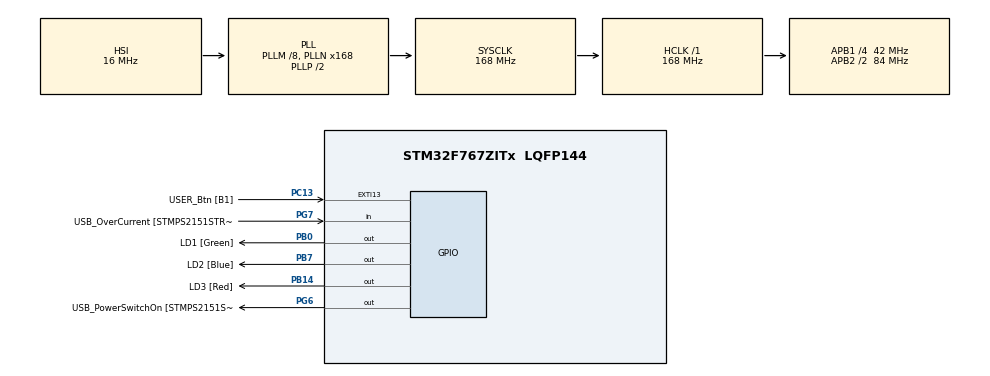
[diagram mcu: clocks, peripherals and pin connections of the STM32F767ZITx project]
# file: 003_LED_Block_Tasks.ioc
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Mcu.Family=STM32F7
Mcu.Name=STM32F767ZITx
Mcu.Package=LQFP144
NVIC.PriorityGroup=NVIC_PRIORITYGROUP_4
PA1.GPIO_Label=RMII_REF_CLK [LAN8742A-CZ-TR_REFCLK0]
PA1.Signal=ETH_REF_CLK
PA10.GPIO_Label=USB_ID
PA10.Signal=USB_OTG_FS_ID
PA11.GPIO_Label=USB_DM
PA11.Signal=USB_OTG_FS_DM
PA12.GPIO_Label=USB_DP
PA12.Signal=USB_OTG_FS_DP
PA13.GPIO_Label=TMS
PA13.Signal=SYS_JTMS-SWDIO
PA14.GPIO_Label=TCK
PA14.Signal=SYS_JTCK-SWCLK
PA2.GPIO_Label=RMII_MDIO [LAN8742A-CZ-TR_MDIO]
PA2.Signal=ETH_MDIO
PA7.GPIO_Label=RMII_CRS_DV [LAN8742A-CZ-TR_CRS_DV]
PA7.Signal=ETH_CRS_DV
PA8.GPIO_Label=USB_SOF [TP1]
PA8.Signal=USB_OTG_FS_SOF
PA9.GPIO_Label=USB_VBUS
PA9.Signal=USB_OTG_FS_VBUS
PB0.GPIO_Label=LD1 [Green]
PB0.Signal=GPIO_Output
PB13.GPIO_Label=RMII_TXD1 [LAN8742A-CZ-TR_TXD1]
PB13.Signal=ETH_TXD1
PB14.GPIO_Label=LD3 [Red]
PB14.Signal=GPIO_Output
PB3.GPIO_Label=SW0
PB3.Signal=SYS_JTDO-SWO
PB7.GPIO_Label=LD2 [Blue]
PB7.Signal=GPIO_Output
PC1.GPIO_Label=RMII_MDC [LAN8742A-CZ-TR_MDC]
PC1.Signal=ETH_MDC
PC13.GPIO_Label=USER_Btn [B1]
PC13.Signal=GPXTI13
PC14/OSC32_IN.Signal=RCC_OSC32_IN
PC15/OSC32_OUT.Signal=RCC_OSC32_OUT
PC4.GPIO_Label=RMII_RXD0 [LAN8742A-CZ-TR_RXD0]
PC4.Signal=ETH_RXD0
PC5.GPIO_Label=RMII_RXD1 [LAN8742A-CZ-TR_RXD1]
PC5.Signal=ETH_RXD1
PD8.GPIO_Label=STLK_RX [STM32F103CBT6_PA3]
PD8.Signal=USART3_TX
PD9.GPIO_Label=STLK_TX [STM32F103CBT6_PA2]
PD9.Signal=USART3_RX
PG11.GPIO_Label=RMII_TX_EN [LAN8742A-CZ-TR_TXEN]
PG11.Signal=ETH_TX_EN
PG13.GPIO_Label=RMII_TXD0 [LAN8742A-CZ-TR_TXD0]
PG13.Signal=ETH_TXD0
PG6.GPIO_Label=USB_PowerSwitchOn [STMPS2151STR_EN]
PG6.Signal=GPIO_Output
PG7.GPIO_Label=USB_OverCurrent [STMPS2151STR_FAULT]
PG7.Signal=GPIO_Input
PH0/OSC_IN.GPIO_Label=MCO [STM32F103CBT6_PA8]
PH0/OSC_IN.Signal=RCC_OSC_IN
PH1/OSC_OUT.Signal=RCC_OSC_OUT
ProjectManager.HeapSize=0x200
ProjectManager.StackSize=0x400
ProjectManager.TargetToolchain=STM32CubeIDE
RCC.48MHZClocksFreq_Value=24000000
RCC.AHBFreq_Value=168000000
RCC.APB1CLKDivider=RCC_HCLK_DIV4
RCC.APB1Freq_Value=42000000
RCC.APB1TimFreq_Value=84000000
RCC.APB2CLKDivider=RCC_HCLK_DIV2
RCC.APB2Freq_Value=84000000
RCC.APB2TimFreq_Value=168000000
RCC.CortexFreq_Value=168000000
RCC.HCLKFreq_Value=168000000
RCC.HSE_VALUE=16000000
RCC.HSI_VALUE=16000000
RCC.LSE_VALUE=32768
RCC.PLLM=8
RCC.PLLMUL=RCC_PLL_MUL9
RCC.PLLN=168
RCC.PRESCALERUSB=RCC_USBCLKSOURCE_PLL_DIV1_5
RCC.SYSCLKFreq_VALUE=168000000
RCC.SYSCLKSource=RCC_SYSCLKSOURCE_PLLCLK
RCC.SYSCLKSourceVirtual=RCC_SYSCLKSOURCE_PLLCLK
RCC.USBFreq_Value=168000000
RCC.VCOOutputFreq_Value=336000000
board=NUCLEO-F767ZI

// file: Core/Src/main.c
/* USER CODE BEGIN Header */
/**
  ******************************************************************************
  * @file           : main.c
  * @brief          : Main program body
  ******************************************************************************
  * @attention
  *
  * Copyright (c) 2024 STMicroelectronics.
  * All rights reserved.
  *
  * This software is licensed under terms that can be found in the LICENSE file
  * in the root directory of this software component.
  * If no LICENSE file comes with this software, it is provided AS-IS.
  *
  ******************************************************************************
  */
/* USER CODE END Header */
#include "main.h"

/* USER CODE BEGIN Includes */
#include "FreeRTOS.h"
#include "task.h"
/* USER CODE END Includes */

/* USER CODE BEGIN PD */
/* Define configASSERT() to disable interrupts and sit in a loop. */

/* USER CODE END PD */

/* USER CODE BEGIN PM */
#define LED_GREEN LD1_Pin
#define LED_RED LD2_Pin
#define LED_BLUE LD3_Pin
/* USER CODE END PM */

void SystemClock_Config(void);
static void MX_GPIO_Init(void);
/* USER CODE BEGIN PFP */
static void led_green_handler(void* params);
static void led_red_handler(void* params);
static void led_blue_handler(void* params);
extern void SEGGER_UART_init(uint32_t);
/* USER CODE END PFP */

int main(void)
{

  /* USER CODE BEGIN 1 */
	TaskHandle_t task1_handle;
	TaskHandle_t task2_handle;
	TaskHandle_t task3_handle;
	BaseType_t status;
  /* USER CODE END 1 */

  /* MCU Configuration--------------------------------------------------------*/

  /* Reset of all peripherals, Initializes the Flash interface and the Systick. */
  HAL_Init();

  /* Configure the system clock */
  SystemClock_Config();

  /* Initialize all configured peripherals */
  MX_GPIO_Init();
  /* USER CODE BEGIN 2 */
  CoreDebug->DEMCR |= CoreDebug_DEMCR_TRCENA_Msk;

     DWT->LAR = 0xC5ACCE55;

     DWT->CYCCNT = 0;

     DWT->CTRL |= DWT_CTRL_CYCCNTENA_Msk;
  SEGGER_UART_init(250000);
  SEGGER_SYSVIEW_Conf();
  status=  xTaskCreate(led_green_handler, "LED_Green_Task", 200, NULL, 2,&task1_handle);
  configASSERT(status == pdPASS);
  status=  xTaskCreate(led_blue_handler, "LED_Blue_Task", 200, NULL, 2,&task2_handle);
  configASSERT(status == pdPASS);
  status=  xTaskCreate(led_red_handler, "LED_Red_Task", 200, NULL, 2,&task3_handle);
  configASSERT(status == pdPASS);
  vTaskStartScheduler();
  /* USER CODE END 2 */

  /* Infinite loop */
  while (1)
  {

  }
}

void SystemClock_Config(void)
{
  RCC_OscInitTypeDef RCC_OscInitStruct = {0};
  RCC_ClkInitTypeDef RCC_ClkInitStruct = {0};

  /** Configure the main internal regulator output voltage
  */
  __HAL_RCC_PWR_CLK_ENABLE();
  __HAL_PWR_VOLTAGESCALING_CONFIG(PWR_REGULATOR_VOLTAGE_SCALE2);

  /** Initializes the RCC Oscillators according to the specified parameters
  * in the RCC_OscInitTypeDef structure.
  */
  RCC_OscInitStruct.OscillatorType = RCC_OSCILLATORTYPE_HSI;
  RCC_OscInitStruct.HSIState = RCC_HSI_ON;
  RCC_OscInitStruct.HSICalibrationValue = RCC_HSICALIBRATION_DEFAULT;
  RCC_OscInitStruct.PLL.PLLState = RCC_PLL_ON;
  RCC_OscInitStruct.PLL.PLLSource = RCC_PLLSOURCE_HSI;
  RCC_OscInitStruct.PLL.PLLM = 8;
  RCC_OscInitStruct.PLL.PLLN = 168;
  RCC_OscInitStruct.PLL.PLLP = RCC_PLLP_DIV2;
  RCC_OscInitStruct.PLL.PLLQ = 2;
  RCC_OscInitStruct.PLL.PLLR = 2;
  if (HAL_RCC_OscConfig(&RCC_OscInitStruct) != HAL_OK)
  {
    Error_Handler();
  }

  /** Initializes the CPU, AHB and APB buses clocks
  */
  RCC_ClkInitStruct.ClockType = RCC_CLOCKTYPE_HCLK|RCC_CLOCKTYPE_SYSCLK
                              |RCC_CLOCKTYPE_PCLK1|RCC_CLOCKTYPE_PCLK2;
  RCC_ClkInitStruct.SYSCLKSource = RCC_SYSCLKSOURCE_PLLCLK;
  RCC_ClkInitStruct.AHBCLKDivider = RCC_SYSCLK_DIV1;
  RCC_ClkInitStruct.APB1CLKDivider = RCC_HCLK_DIV4;
  RCC_ClkInitStruct.APB2CLKDivider = RCC_HCLK_DIV2;

  if (HAL_RCC_ClockConfig(&RCC_ClkInitStruct, FLASH_LATENCY_5) != HAL_OK)
  {
    Error_Handler();
  }
}

static void MX_GPIO_Init(void)
{
  GPIO_InitTypeDef GPIO_InitStruct = {0};

  /* GPIO Ports Clock Enable */
  __HAL_RCC_GPIOC_CLK_ENABLE();
  __HAL_RCC_GPIOH_CLK_ENABLE();
  __HAL_RCC_GPIOA_CLK_ENABLE();
  __HAL_RCC_GPIOB_CLK_ENABLE();
  __HAL_RCC_GPIOD_CLK_ENABLE();
  __HAL_RCC_GPIOG_CLK_ENABLE();

  /*Configure GPIO pin Output Level */
  HAL_GPIO_WritePin(GPIOB, LD1_Pin|LD3_Pin|LD2_Pin, GPIO_PIN_RESET);

  /*Configure GPIO pin Output Level */
  HAL_GPIO_WritePin(USB_PowerSwitchOn_GPIO_Port, USB_PowerSwitchOn_Pin, GPIO_PIN_RESET);

  /*Configure GPIO pin : USER_Btn_Pin */
  GPIO_InitStruct.Pin = USER_Btn_Pin;
  GPIO_InitStruct.Mode = GPIO_MODE_IT_RISING;
  GPIO_InitStruct.Pull = GPIO_NOPULL;
  HAL_GPIO_Init(USER_Btn_GPIO_Port, &GPIO_InitStruct);

  /*Configure GPIO pins : RMII_MDC_Pin RMII_RXD0_Pin RMII_RXD1_Pin */
  GPIO_InitStruct.Pin = RMII_MDC_Pin|RMII_RXD0_Pin|RMII_RXD1_Pin;
  GPIO_InitStruct.Mode = GPIO_MODE_AF_PP;
  GPIO_InitStruct.Pull = GPIO_NOPULL;
  GPIO_InitStruct.Speed = GPIO_SPEED_FREQ_VERY_HIGH;
  GPIO_InitStruct.Alternate = GPIO_AF11_ETH;
  HAL_GPIO_Init(GPIOC, &GPIO_InitStruct);

  /*Configure GPIO pins : RMII_REF_CLK_Pin RMII_MDIO_Pin RMII_CRS_DV_Pin */
  GPIO_InitStruct.Pin = RMII_REF_CLK_Pin|RMII_MDIO_Pin|RMII_CRS_DV_Pin;
  GPIO_InitStruct.Mode = GPIO_MODE_AF_PP;
  GPIO_InitStruct.Pull = GPIO_NOPULL;
  GPIO_InitStruct.Speed = GPIO_SPEED_FREQ_VERY_HIGH;
  GPIO_InitStruct.Alternate = GPIO_AF11_ETH;
  HAL_GPIO_Init(GPIOA, &GPIO_InitStruct);

  /*Configure GPIO pins : LD1_Pin LD3_Pin LD2_Pin */
  GPIO_InitStruct.Pin = LD1_Pin|LD3_Pin|LD2_Pin;
  GPIO_InitStruct.Mode = GPIO_MODE_OUTPUT_PP;
  GPIO_InitStruct.Pull = GPIO_NOPULL;
  GPIO_InitStruct.Speed = GPIO_SPEED_FREQ_LOW;
  HAL_GPIO_Init(GPIOB, &GPIO_InitStruct);

  /*Configure GPIO pin : RMII_TXD1_Pin */
  GPIO_InitStruct.Pin = RMII_TXD1_Pin;
  GPIO_InitStruct.Mode = GPIO_MODE_AF_PP;
  GPIO_InitStruct.Pull = GPIO_NOPULL;
  GPIO_InitStruct.Speed = GPIO_SPEED_FREQ_VERY_HIGH;
  GPIO_InitStruct.Alternate = GPIO_AF11_ETH;
  HAL_GPIO_Init(RMII_TXD1_GPIO_Port, &GPIO_InitStruct);

  /*Configure GPIO pins : STLK_RX_Pin STLK_TX_Pin */
  GPIO_InitStruct.Pin = STLK_RX_Pin|STLK_TX_Pin;
  GPIO_InitStruct.Mode = GPIO_MODE_AF_PP;
  GPIO_InitStruct.Pull = GPIO_NOPULL;
  GPIO_InitStruct.Speed = GPIO_SPEED_FREQ_VERY_HIGH;
  GPIO_InitStruct.Alternate = GPIO_AF7_USART3;
  HAL_GPIO_Init(GPIOD, &GPIO_InitStruct);

  /*Configure GPIO pin : USB_PowerSwitchOn_Pin */
  GPIO_InitStruct.Pin = USB_PowerSwitchOn_Pin;
  GPIO_InitStruct.Mode = GPIO_MODE_OUTPUT_PP;
  GPIO_InitStruct.Pull = GPIO_NOPULL;
  GPIO_InitStruct.Speed = GPIO_SPEED_FREQ_LOW;
  HAL_GPIO_Init(USB_PowerSwitchOn_GPIO_Port, &GPIO_InitStruct);

  /*Configure GPIO pin : USB_OverCurrent_Pin */
  GPIO_InitStruct.Pin = USB_OverCurrent_Pin;
  GPIO_InitStruct.Mode = GPIO_MODE_INPUT;
  GPIO_InitStruct.Pull = GPIO_NOPULL;
  HAL_GPIO_Init(USB_OverCurrent_GPIO_Port, &GPIO_InitStruct);

  /*Configure GPIO pins : USB_SOF_Pin USB_ID_Pin USB_DM_Pin USB_DP_Pin */
  GPIO_InitStruct.Pin = USB_SOF_Pin|USB_ID_Pin|USB_DM_Pin|USB_DP_Pin;
  GPIO_InitStruct.Mode = GPIO_MODE_AF_PP;
  GPIO_InitStruct.Pull = GPIO_NOPULL;
  GPIO_InitStruct.Speed = GPIO_SPEED_FREQ_VERY_HIGH;
  GPIO_InitStruct.Alternate = GPIO_AF10_OTG_FS;
  HAL_GPIO_Init(GPIOA, &GPIO_InitStruct);

  /*Configure GPIO pin : USB_VBUS_Pin */
  GPIO_InitStruct.Pin = USB_VBUS_Pin;
  GPIO_InitStruct.Mode = GPIO_MODE_INPUT;
  GPIO_InitStruct.Pull = GPIO_NOPULL;
  HAL_GPIO_Init(USB_VBUS_GPIO_Port, &GPIO_InitStruct);

  /*Configure GPIO pins : RMII_TX_EN_Pin RMII_TXD0_Pin */
  GPIO_InitStruct.Pin = RMII_TX_EN_Pin|RMII_TXD0_Pin;
  GPIO_InitStruct.Mode = GPIO_MODE_AF_PP;
  GPIO_InitStruct.Pull = GPIO_NOPULL;
  GPIO_InitStruct.Speed = GPIO_SPEED_FREQ_VERY_HIGH;
  GPIO_InitStruct.Alternate = GPIO_AF11_ETH;
  HAL_GPIO_Init(GPIOG, &GPIO_InitStruct);

}

/* USER CODE BEGIN 4 */
static void led_green_handler(void* parameters)
{
	while(1)
	{
		SEGGER_SYSVIEW_PrintfTarget("Toggling Green LED");
		HAL_GPIO_TogglePin(GPIOB, LED_GREEN);
		vTaskDelay(pdMS_TO_TICKS(1000));

	}
}
static void led_red_handler(void* parameters)
{
	while(1)
	{
		SEGGER_SYSVIEW_PrintfTarget("Toggling Red LED");
		HAL_GPIO_TogglePin(GPIOB, LED_RED);
		vTaskDelay(pdMS_TO_TICKS(400));
	}
}
static void led_blue_handler(void* parameters)
{
	while(1)
	{	SEGGER_SYSVIEW_PrintfTarget("Toggling Blue LED");
		HAL_GPIO_TogglePin(GPIOB, LED_BLUE);
		vTaskDelay(pdMS_TO_TICKS(800));
	}
}
void vAssertCalled( unsigned long ulLine, const char * const pcFileName )
{
//static portBASE_TYPE xPrinted = pdFALSE;
volatile uint32_t ulSetToNonZeroInDebuggerToContinue = 0;

    /* Parameters are not used. */
    ( void ) ulLine;
    ( void ) pcFileName;

    taskENTER_CRITICAL();
    {
        /* You can step out of this function to debug the assertion by using
        the debugger to set ulSetToNonZeroInDebuggerToContinue to a non-zero
        value. */
        while( ulSetToNonZeroInDebuggerToContinue == 1 )
        {
        }
    }
    taskEXIT_CRITICAL();
}
/* USER CODE END 4 */

void Error_Handler(void)
{
  __disable_irq();
  while (1)
  {
  }
}
